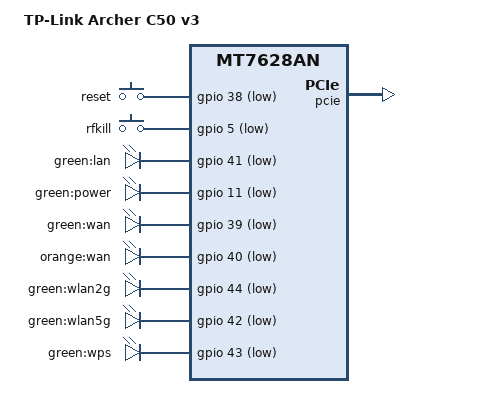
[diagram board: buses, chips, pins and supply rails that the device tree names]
#include "mt7628an_tplink_8m.dtsi"

/ {
	compatible = "tplink,archer-c50-v3", "mediatek,mt7628an-soc";
	model = "TP-Link Archer C50 v3";

	aliases {
		led-boot = &led_power;
		led-failsafe = &led_power;
		led-running = &led_power;
		led-upgrade = &led_power;
	};

	keys {
		compatible = "gpio-keys";

		reset {
			label = "reset";
			gpios = <&gpio 38 GPIO_ACTIVE_LOW>;
			linux,code = <KEY_RESTART>;
		};

		rfkill {
			label = "rfkill";
			gpios = <&gpio 5 GPIO_ACTIVE_LOW>;
			linux,code = <KEY_RFKILL>;
		};
	};

	leds {
		compatible = "gpio-leds";

		lan {
			label = "green:lan";
			gpios = <&gpio 41 GPIO_ACTIVE_LOW>;
		};

		led_power: power {
			label = "green:power";
			gpios = <&gpio 11 GPIO_ACTIVE_LOW>;
		};

		wan {
			label = "green:wan";
			gpios = <&gpio 39 GPIO_ACTIVE_LOW>;
		};

		wan_orange {
			label = "orange:wan";
			gpios = <&gpio 40 GPIO_ACTIVE_LOW>;
		};

		wlan {
			label = "green:wlan2g";
			gpios = <&gpio 44 GPIO_ACTIVE_LOW>;
		};

		wlan5 {
			label = "green:wlan5g";
			gpios = <&gpio 42 GPIO_ACTIVE_LOW>;
		};

		wps {
			label = "green:wps";
			gpios = <&gpio 43 GPIO_ACTIVE_LOW>;
		};
	};
};

&ehci {
	status = "disabled";
};

&ohci {
	status = "disabled";
};

&state_default {
	gpio {
		groups = "i2c", "gpio", "p0led_an", "p1led_an", "p2led_an",
				   "p3led_an", "p4led_an", "wdt", "wled_an";
		function = "gpio";
	};
};

&esw {
	mediatek,portmap = <0x3e>;
};

&pcie {
	status = "okay";
};

&pcie0 {
	mt76@0,0 {
		reg = <0x0000 0 0 0 0>;
		mediatek,mtd-eeprom = <&factory 0x28000>;
		ieee80211-freq-limit = <5000000 6000000>;
		mtd-mac-address = <&factory 0xf100>;
		mtd-mac-address-increment = <(-1)>;
	};
};
